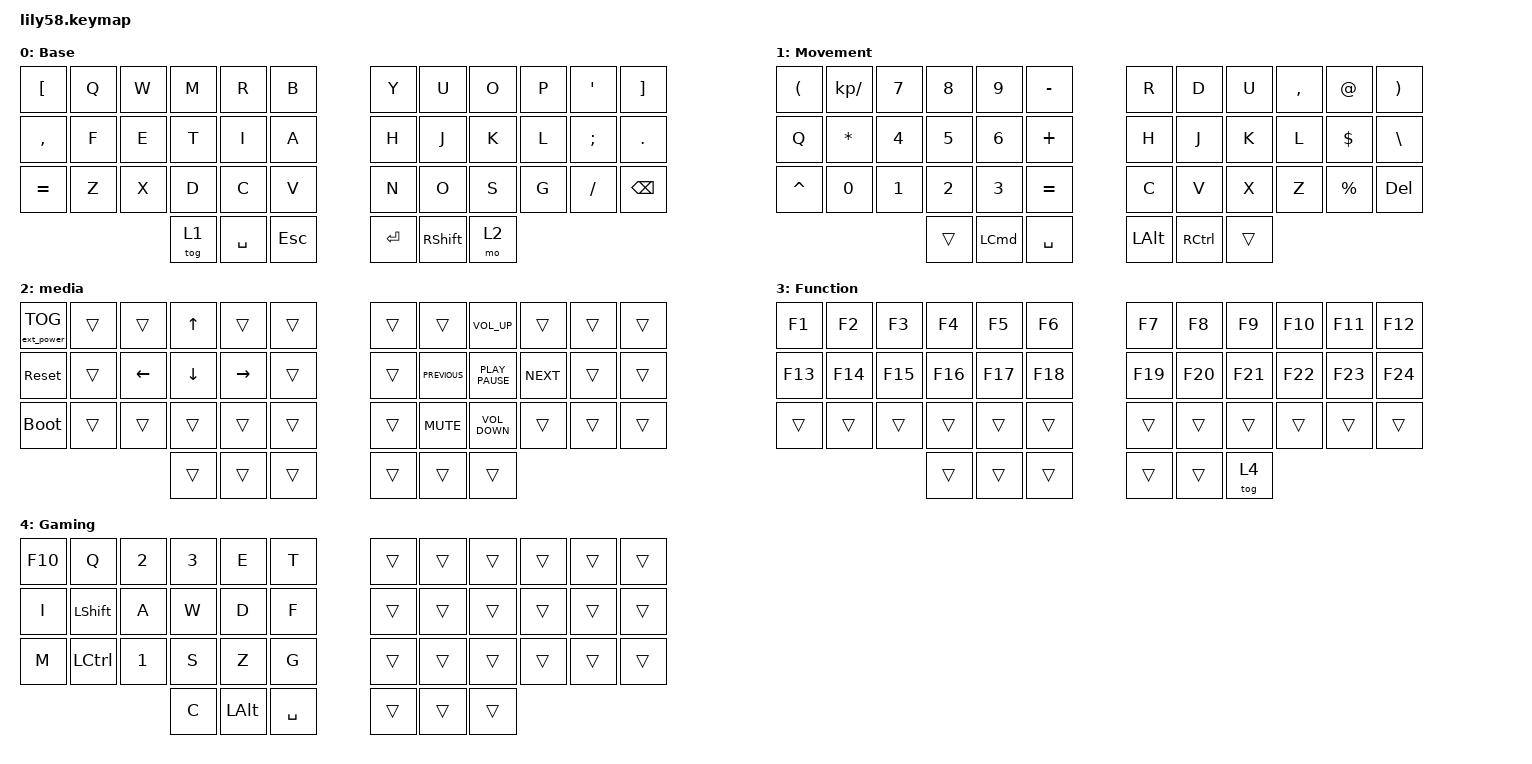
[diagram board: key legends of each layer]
/*
 * Copyright (c) 2020 The ZMK Contributors
 *
 * SPDX-License-Identifier: MIT
 */

#include <behaviors.dtsi>
#include <dt-bindings/zmk/keys.h>
#include <dt-bindings/zmk/bt.h>
#include <dt-bindings/zmk/ext_power.h>

/ {
    combos {
        compatible = "zmk,combos";

        Control {
            bindings = <&kp LCTRL>;
            key-positions = <38 39>;
        };

        meta {
            bindings = <&kp RIGHT_META>;
            key-positions = <20 21>;
        };

        Super {
            bindings = <&kp X>;
            key-positions = <28 13>;
            layers = <4>;
        };
    };

    keymap {
        compatible = "zmk,keymap";

        Base {
            bindings = <
&kp LEFT_BRACKET  &kp Q  &kp W  &kp M   &kp R      &kp B         &kp Y      &kp U            &kp O  &kp P  &kp SQT   &kp RIGHT_BRACKET
&kp COMMA         &kp F  &kp E  &kp T   &kp I      &kp A         &kp H      &kp J            &kp K  &kp L  &kp SEMI  &kp DOT
&kp EQUAL         &kp Z  &kp X  &kp D   &kp C      &kp V         &kp N      &kp O            &kp S  &kp G  &kp FSLH  &kp BACKSPACE
                                &tog 1  &kp SPACE  &kp ESCAPE    &kp ENTER  &kp RIGHT_SHIFT  &mo 2
            >;
        };

        Movement {
            bindings = <
&kp LEFT_PARENTHESIS  &kp KP_DIVIDE  &kp N7  &kp N8  &kp N9            &kp MINUS    &kp R         &kp D      &kp U   &kp COMMA  &kp AT_SIGN  &kp RIGHT_PARENTHESIS
&kp Q                 &kp ASTRK      &kp N4  &kp N5  &kp N6            &kp PLUS     &kp H         &kp J      &kp K   &kp L      &kp DOLLAR   &kp BACKSLASH
&kp CARET             &kp N0         &kp N1  &kp N2  &kp N3            &kp EQUAL    &kp C         &kp V      &kp X   &kp Z      &kp PERCENT  &kp DELETE
                                             &trans  &kp LEFT_COMMAND  &kp SPACE    &kp LEFT_ALT  &kp RCTRL  &trans
            >;
        };

        media {
            bindings = <
&ext_power EP_TOG  &trans  &trans          &kp UP_ARROW    &trans           &trans    &trans  &trans          &kp K_VOLUME_UP    &trans      &trans  &trans
&sys_reset         &trans  &kp LEFT_ARROW  &kp DOWN_ARROW  &kp RIGHT_ARROW  &trans    &trans  &kp K_PREVIOUS  &kp K_PLAY_PAUSE   &kp K_NEXT  &trans  &trans
&bootloader        &trans  &trans          &trans          &trans           &trans    &trans  &kp K_MUTE      &kp K_VOLUME_DOWN  &trans      &trans  &trans
                                           &trans          &trans           &trans    &trans  &trans          &trans
            >;
        };

        Function {
            bindings = <
&kp F1   &kp F2   &kp F3   &kp F4   &kp F5   &kp F6     &kp F7   &kp F8   &kp F9   &kp F10  &kp F11  &kp F12
&kp F13  &kp F14  &kp F15  &kp F16  &kp F17  &kp F18    &kp F19  &kp F20  &kp F21  &kp F22  &kp F23  &kp F24
&trans   &trans   &trans   &trans   &trans   &trans     &trans   &trans   &trans   &trans   &trans   &trans
                           &trans   &trans   &trans     &trans   &trans   &tog 4
            >;
        };

        Gaming {
            bindings = <
&kp F10  &kp Q      &kp N2  &kp N3  &kp E     &kp T        &trans  &trans  &trans  &trans  &trans  &trans
&kp I    &kp LSHFT  &kp A   &kp W   &kp D     &kp F        &trans  &trans  &trans  &trans  &trans  &trans
&kp M    &kp LCTRL  &kp N1  &kp S   &kp Z     &kp G        &trans  &trans  &trans  &trans  &trans  &trans
                            &kp C   &kp LALT  &kp SPACE    &trans  &trans  &trans
            >;
        };
    };

    conditional_layers {
        compatible = "zmk,conditional-layers";

        Both {
            if-layers = <1 2>;
            then-layer = <3>;
        };
    };
};
